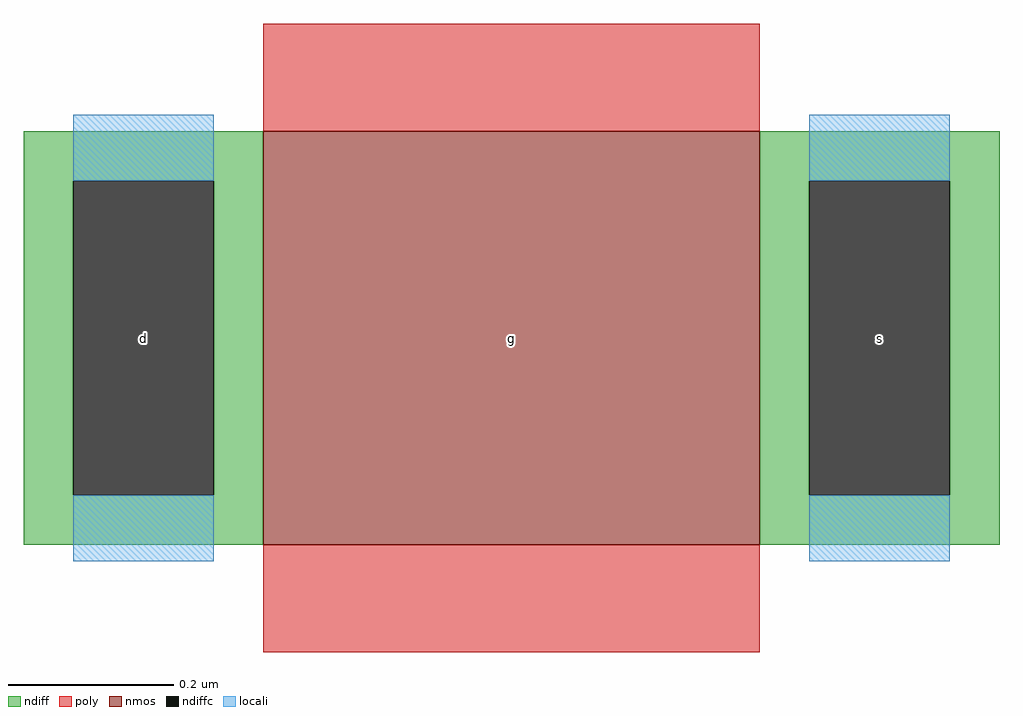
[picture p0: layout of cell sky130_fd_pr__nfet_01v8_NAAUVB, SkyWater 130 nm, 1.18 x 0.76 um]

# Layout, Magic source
magic
tech sky130A
magscale 1 2
<< nmos >>
rect -60 -50 60 50
<< ndiff >>
rect -118 38 -60 50
rect -118 -38 -106 38
rect -72 -38 -60 38
rect -118 -50 -60 -38
rect 60 38 118 50
rect 60 -38 72 38
rect 106 -38 118 38
rect 60 -50 118 -38
<< ndiffc >>
rect -106 -38 -72 38
rect 72 -38 106 38
<< poly >>
rect -60 50 60 76
rect -60 -76 60 -50
<< locali >>
rect -106 38 -72 54
rect -106 -54 -72 -38
rect 72 38 106 54
rect 72 -54 106 -38
<< labels >>
flabel locali -89 0 -89 0 0 FreeSans 80 0 0 0 d
port 0 nsew
flabel locali 89 0 89 0 0 FreeSans 80 0 0 0 s
port 1 nsew
flabel poly -60 -50 60 50 0 FreeSans 80 0 0 0 g
port 2 nsew
<< properties >>
string gencell sky130_fd_pr__nfet_01v8
string library sky130
string parameters w .5 l .6 m 1 nf 1 diffcov 100 polycov 100 guard 0 glc 0 grc 0 gtc 0 gbc 0 tbcov 100 rlcov 100 topc 0 botc 0 poverlap 0 doverlap 1 lmin 0.15 wmin 0.42 compatible {sky130_fd_pr__nfet_01v8 sky130_fd_pr__nfet_01v8_lvt  sky130_fd_bs_flash__special_sonosfet_star  sky130_fd_pr__nfet_g5v0d10v5 sky130_fd_pr__nfet_05v0_nvt  sky130_fd_pr__nfet_03v3_nvt} full_metal 0 viasrc 100 viadrn 100 viagate 100 viagb 0 viagr 0 viagl 0 viagt 0
<< end >>
